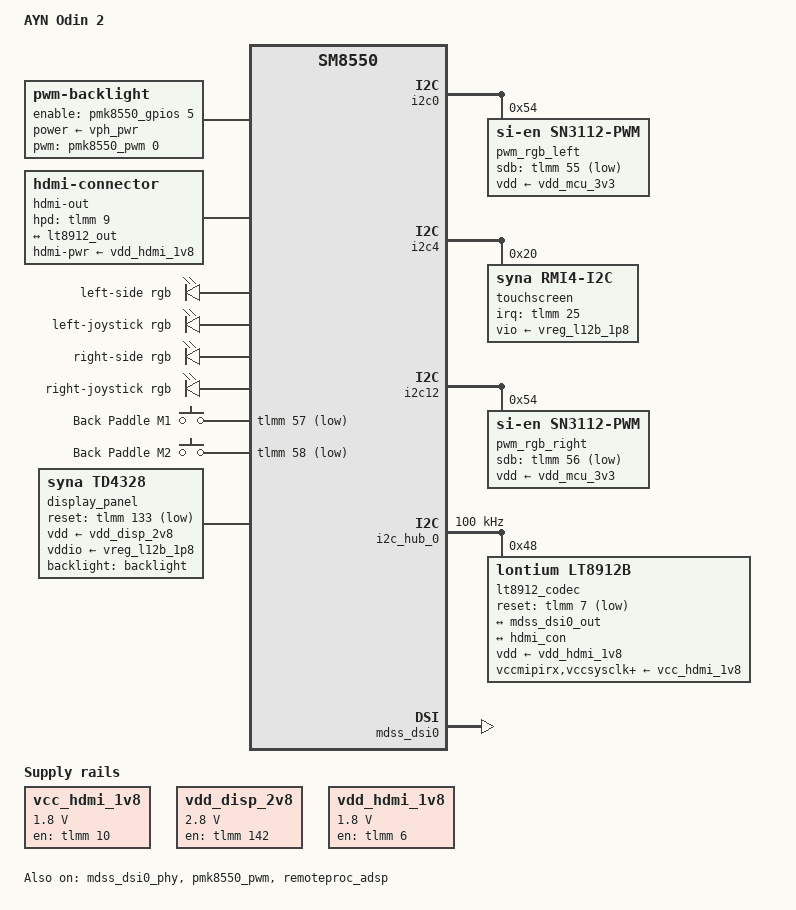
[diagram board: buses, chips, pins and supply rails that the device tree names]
// SPDX-License-Identifier: BSD-3-Clause
/*
 * Copyright (c) 2025, Teguh Sobirin.
 */

/dts-v1/;

#include "qcs8550-ayn-common.dtsi"

/ {
	model = "AYN Odin 2";
	compatible = "ayn,odin2", "qcom,qcs8550", "qcom,sm8550";
	qcom,msm-id = <603 0x20000>;
	qcom,board-id = <0x1001f 0>;

	backlight: backlight {
		compatible = "pwm-backlight";
		pwms = <&pmk8550_pwm 0 860000>;
		brightness-levels = <1023 0>;
		num-interpolated-steps = <1023>;
		default-brightness-level = <600>;
		power-supply = <&vph_pwr>;
		enable-gpios = <&pmk8550_gpios 5 GPIO_ACTIVE_HIGH>;
		pinctrl-names = "default";
		pinctrl-0 = <&pwm_backlight_default>;
		status = "okay";
	};

	hdmi-out {
		compatible = "hdmi-connector";
		type = "d";
		hpd-gpios = <&tlmm 9 GPIO_ACTIVE_HIGH>;
		hdmi-pwr-supply = <&vdd_hdmi_1v8>;

		port {
			hdmi_con: endpoint {
				remote-endpoint = <&lt8912_out>;
			};
		};
	};

	led_left_side: led-controller-1 {
		compatible = "pwm-leds-multicolor";

		multi-led {
			label = "left-side";
			color = <LED_COLOR_ID_RGB>;
			max-brightness = <255>;

			led-red {
				color = <LED_COLOR_ID_RED>;
				pwms = <&pwm_rgb_left 0>;
			};

			led-green {
				color = <LED_COLOR_ID_GREEN>;
				pwms = <&pwm_rgb_left 1>;
			};

			led-blue {
				color = <LED_COLOR_ID_BLUE>;
				pwms = <&pwm_rgb_left 2>;
			};
		};
	};

	led_left_joystick: led-controller-2 {
		compatible = "pwm-leds-multicolor";

		multi-led {
			label = "left-joystick";
			color = <LED_COLOR_ID_RGB>;
			max-brightness = <255>;

			led-red {
				color = <LED_COLOR_ID_RED>;
				pwms = <&pwm_rgb_left 6>;
			};

			led-green {
				color = <LED_COLOR_ID_GREEN>;
				pwms = <&pwm_rgb_left 7>;
			};

			led-blue {
				color = <LED_COLOR_ID_BLUE>;
				pwms = <&pwm_rgb_left 8>;
			};
		};
	};

	led_right_side: led-controller-3 {
		compatible = "pwm-leds-multicolor";

		multi-led {
			label = "right-side";
			color = <LED_COLOR_ID_RGB>;
			max-brightness = <255>;

			led-red {
				color = <LED_COLOR_ID_RED>;
				pwms = <&pwm_rgb_right 0>;
			};

			led-green {
				color = <LED_COLOR_ID_GREEN>;
				pwms = <&pwm_rgb_right 1>;
			};

			led-blue {
				color = <LED_COLOR_ID_BLUE>;
				pwms = <&pwm_rgb_right 2>;
			};
		};
	};

	led_right_joystick: led-controller-4 {
		compatible = "pwm-leds-multicolor";

		multi-led {
			label = "right-joystick";
			color = <LED_COLOR_ID_RGB>;
			max-brightness = <255>;

			led-red {
				color = <LED_COLOR_ID_RED>;
				pwms = <&pwm_rgb_right 6>;
			};

			led-green {
				color = <LED_COLOR_ID_GREEN>;
				pwms = <&pwm_rgb_right 7>;
			};

			led-blue {
				color = <LED_COLOR_ID_BLUE>;
				pwms = <&pwm_rgb_right 8>;
			};
		};
	};

	vcc_hdmi_1v8: vcc-hdmi-1v8-regulator {
		compatible = "regulator-fixed";
		regulator-name = "vcc_hdmi_1v8";

		regulator-min-microvolt = <1800000>;
		regulator-max-microvolt = <1800000>;

		gpio = <&tlmm 10 GPIO_ACTIVE_HIGH>;
		enable-active-high;
	};

	vdd_disp_2v8: vdd-disp-2v8-regulator {
		compatible = "regulator-fixed";
		regulator-name = "vdd_disp_2v8";

		regulator-min-microvolt = <2800000>;
		regulator-max-microvolt = <2800000>;

		gpio = <&tlmm 142 GPIO_ACTIVE_HIGH>;
		enable-active-high;
	};

	vdd_hdmi_1v8: vdd-hdmi-1v8-regulator {
		compatible = "regulator-fixed";
		regulator-name = "vdd_hdmi_1v8";

		regulator-min-microvolt = <1800000>;
		regulator-max-microvolt = <1800000>;

		gpio = <&tlmm 6 GPIO_ACTIVE_HIGH>;
		enable-active-high;
	};
};

&display_panel {
	compatible = "syna,td4328";

	pinctrl-0 = <&dsi_p_rst_active>, <&dsi_p_te_active>;
	pinctrl-1 = <&dsi_p_rst_suspend>, <&dsi_p_te_suspend>;
	pinctrl-names = "default", "sleep";

	vdd-supply = <&vdd_disp_2v8>;
	vddio-supply = <&vreg_l12b_1p8>;

	backlight = <&backlight>;

	reset-gpios = <&tlmm 133 GPIO_ACTIVE_LOW>;

	rotation = <90>;
};

&i2c0 {
	pwm_rgb_left: sn3112@54 {
		compatible = "si-en,sn3112-pwm";
		reg = <0x54>;
		sdb-gpios = <&tlmm 55 GPIO_ACTIVE_LOW>;
		vdd-supply = <&vdd_mcu_3v3>;
		#pwm-cells = <1>;
	};
};

&i2c4 {
	touchscreen@20 {
		compatible = "syna,rmi4-i2c";
		reg = <0x20>;
		#address-cells = <1>;
		#size-cells = <0>;
		interrupt-parent = <&tlmm>;
		interrupts = <25 IRQ_TYPE_EDGE_FALLING>;

		pinctrl-names = "default", "sleep";
		pinctrl-0 = <&ts_p_int_default>;
		pinctrl-1 = <&ts_p_int_sleep>;

		vio-supply = <&vreg_l12b_1p8>;

		syna,startup-delay-ms = <200>;
		syna,reset-delay-ms = <200>;

		rmi4-f01@1 {
			syna,nosleep-mode = <0x1>;
			reg = <0x1>;
		};

		rmi4-f12@12 {
			reg = <0x12>;
			syna,rezero-wait-ms = <20>;
			syna,clip-x-low = <0>;
			syna,clip-y-low = <0>;
			syna,clip-x-high = <1080>;
			syna,clip-y-high = <1920>;
			syna,sensor-type = <1>;
			touchscreen-inverted-x;
		};
	};
};

&i2c12 {
	pwm_rgb_right: sn3112@54 {
		compatible = "si-en,sn3112-pwm";
		reg = <0x54>;
		sdb-gpios = <&tlmm 56 GPIO_ACTIVE_LOW>;
		vdd-supply = <&vdd_mcu_3v3>;
		#pwm-cells = <1>;
	};
};

&i2c_hub_0 {
	clock-frequency = <100000>;
	status = "okay";

	lt8912_codec: hdmi-bridge@48 {
		compatible = "lontium,lt8912b";
		reg = <0x48> ;

		reset-gpios = <&tlmm 7 GPIO_ACTIVE_LOW>;

		vdd-supply = <&vdd_hdmi_1v8>;
		vccmipirx-supply = <&vcc_hdmi_1v8>;
		vccsysclk-supply = <&vcc_hdmi_1v8>;
		vcclvdstx-supply = <&vcc_hdmi_1v8>;
		vcchdmitx-supply = <&vcc_hdmi_1v8>;
		vcclvdspll-supply = <&vcc_hdmi_1v8>;
		vcchdmipll-supply = <&vcc_hdmi_1v8>;

		ports {
			#address-cells = <1>;
			#size-cells = <0>;

			port@0 {
				reg = <0>;

				hdmi_out_in: endpoint {
					data-lanes = <1 2 3 4>;
					remote-endpoint = <&mdss_dsi0_out>;
				};
			};

			port@1 {
				reg = <1>;

				lt8912_out: endpoint {
					remote-endpoint = <&hdmi_con>;
				};
			};
		};
	};
};

&mdss_dsi0 {
	vdda-supply = <&vreg_l3e_1p2>;
	status = "okay";
};

&mdss_dsi0_out {
	remote-endpoint = <&hdmi_out_in>;
	data-lanes = <0 1 2 3>;
};

&mdss_dsi0_phy {
	vdds-supply = <&vreg_l1e_0p88>;
	status = "okay";
};

&pmk8550_pwm {
	status = "okay";
};

&remoteproc_adsp {
	firmware-name = "qcom/sm8550/ayn/odin2/adsp.mbn",
			"qcom/sm8550/ayn/odin2/adsp_dtb.mbn";
	status = "okay";
};

&spk_amp_l {
	firmware-name = "qcom/sm8550/ayn/odin2/aw883xx_acf.bin";
};

&spk_amp_r {
	firmware-name = "qcom/sm8550/ayn/odin2/aw883xx_acf.bin";
};

&tlmm {
	paddle_keys_default: paddle-keys-default-state {
		pins = "gpio57", "gpio58";
		function = "gpio";
		bias-pull-up;
		drive-strength = <2>;
	};
};

/*
 * AYN Odin 2 has two extra back buttons (M1, M2) on the lower back of
 * the device. They are plain active-low SoC TLMM GPIOs (M1 = GPIO_57,
 * M2 = GPIO_58), not on the gamepad MCU UART and not ADC (despite AYN's
 * Android "adckey"/keydetect.ko naming). Expose them as a gpio-keys
 * device emitting BTN_Z (M1) / BTN_C (M2); ROCKNIX's InputPlumber map
 * (ayn_mcu.yaml) routes BTN_Z -> LeftPaddle2 and BTN_C -> RightPaddle2.
 * RE'd from the AYN Android keydetect driver (gpio_request 358/359 =
 * TLMM base 301 + offsets 57/58), same scheme as the AYN Odin 3.
 */
/ {
	gpio-keys-paddles {
		compatible = "gpio-keys";
		pinctrl-names = "default";
		pinctrl-0 = <&paddle_keys_default>;

		key-paddle-m1 {
			label = "Back Paddle M1";
			linux,code = <BTN_Z>;
			gpios = <&tlmm 57 GPIO_ACTIVE_LOW>;
			debounce-interval = <15>;
		};

		key-paddle-m2 {
			label = "Back Paddle M2";
			linux,code = <BTN_C>;
			gpios = <&tlmm 58 GPIO_ACTIVE_LOW>;
			debounce-interval = <15>;
		};
	};
};
